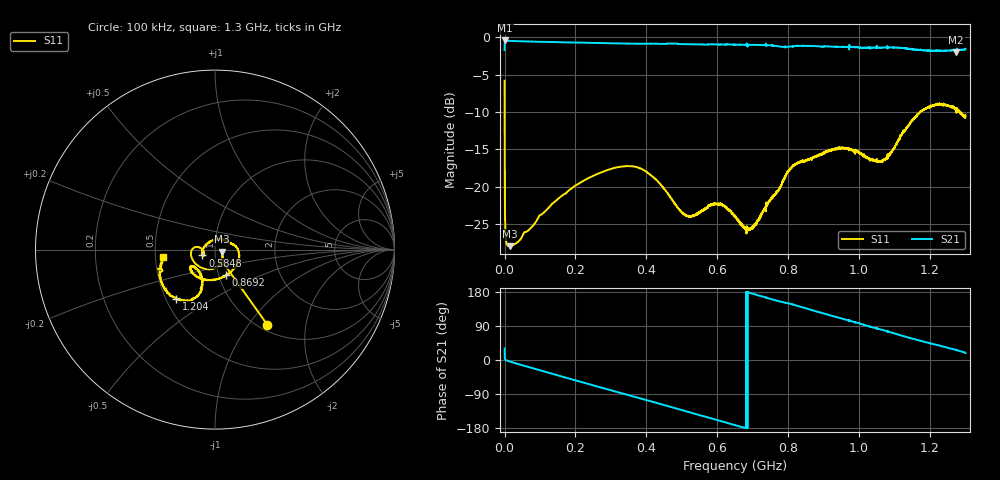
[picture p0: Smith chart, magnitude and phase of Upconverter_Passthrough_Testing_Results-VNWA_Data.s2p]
! ListType=Lin
# MHZ S DB R 50
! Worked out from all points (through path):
!   4096 points, 100 kHz to 1.3 GHz, reference 50 ohm
!   highest |S21| = -0.45 dB at 1.37 MHz (marker M1); lowest = -2.0 dB at 1.274 GHz (marker M2)
!   group delay of S21, straight-line fit = 729 ps
!   lowest |S11| = -27.9 dB at 14.07 MHz (marker M3), VSWR 1.08, Z = 54 - j1.2 ohm
!   |S11| at or under -10 dB: 222.8 kHz to 1.172 GHz (1.172 GHz wide, 200 % of centre); 1.274259 GHz to 1.275569 GHz (1.31 MHz wide, 0.103 % of centre); 1.286 GHz to end of sweep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
!   S12 and S22 are empty: the file has one direction only
!   S11 on the Smith chart (normalised r, x): 100 kHz: 1.09, -1.24; 584.8 MHz: 0.87, -0.06; 869.2 MHz: 1.09, -0.32; 1.204 GHz: 0.57, -0.35; 1.3 GHz: 0.54, -0.05
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0.1  -5.83 -55.1  -1.73 30.7  -3000.00 -90.0  -3000.00 -90.0
1.369744  -24.08 -44.9  -0.45 1.9  -3000.00 -90.0  -3000.00 -90.0
7.08359  -27.72 -17.9  -0.49 -1.7  -3000.00 -90.0  -3000.00 -90.0
14.06718  -27.91 -16.0  -0.51 -3.9  -3000.00 -90.0  -3000.00 -90.0
110.8851  -23.41 -55.3  -0.64 -30.0  -3000.00 -90.0  -3000.00 -90.0
216.9087  -19.33 -96.7  -0.74 -58.2  -3000.00 -90.0  -3000.00 -90.0
349.9144  -17.22 -162.6  -0.86 -92.9  -3000.00 -90.0  -3000.00 -90.0
433.4  -19.32 172.4  -0.91 -114.4  -3000.00 -90.0  -3000.00 -90.0
514.3462  -23.84 -170.1  -0.95 -135.9  -3000.00 -90.0  -3000.00 -90.0
584.8169  -22.28 -155.0  -0.97 -154.6  -3000.00 -90.0  -3000.00 -90.0
650.2087  -23.87 169.3  -0.99 -172.0  -3000.00 -90.0  -3000.00 -90.0
697.8241  -25.64 102.4  -1.04 175.4  -3000.00 -90.0  -3000.00 -90.0
804.4826  -17.63 -3.8  -1.26 148.5  -3000.00 -90.0  -3000.00 -90.0
866.7  -16.41 -62.1  -1.19 131.8  -3000.00 -90.0  -3000.00 -90.0
869.2395  -16.14 -66.3  -1.20 130.9  -3000.00 -90.0  -3000.00 -90.0
969.8667  -14.94 -136.6  -1.31 104.7  -3000.00 -90.0  -3000.00 -90.0
1051.13  -16.57 -135.5  -1.44 83.0  -3000.00 -90.0  -3000.00 -90.0
1083.509  -15.79 -119.4  -1.38 74.5  -3000.00 -90.0  -3000.00 -90.0
1138.108  -11.94 -109.0  -1.56 59.6  -3000.00 -90.0  -3000.00 -90.0
1204.134  -9.19 -128.3  -1.82 43.1  -3000.00 -90.0  -3000.00 -90.0
1274.288  -10.03 -157.9  -1.99 26.4  -3000.00 -90.0  -3000.00 -90.0
1300  -10.38 -171.9  -1.58 18.5  -3000.00 -90.0  -3000.00 -90.0
